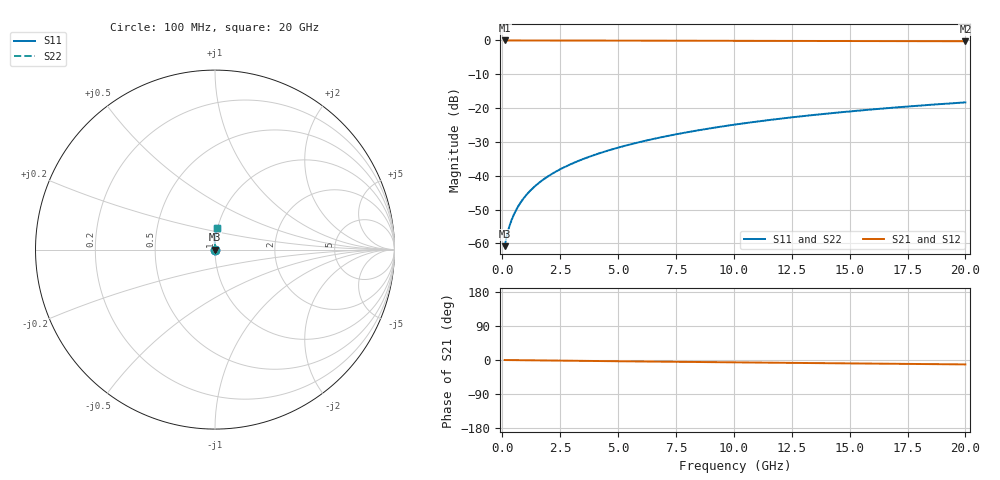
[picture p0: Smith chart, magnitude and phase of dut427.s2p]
! Touchstone file exported from HFSS 2024.1.0
!  File:  C:/UserFiles/LocalFiles/RDL_TSV_Batchsim/temp_RDL_top_427_1779676211.aedt
!  Generated:  10:32:28 AM May 25, 2026
!  Design:  RDL_top
!  Project:  temp_RDL_top_427_1779676211
!  Setup:  Setup1
!  Solution:  Sweep
! Variables:
!  dtsv = 10.80580581um
!  hbump = 3um
!  htsv = 98.19um
!  ldown = 100um
!  lrdl = 140.76um
!  p = 40
!  p1 = 50.8um
!  rhole = 1um
!  t = 450um
!  tdown = 3.915915916um
!  trdl = 3.76um
!  wdown = 15.38538539um
!  wrdl = 26.81um
# GHz S MA R 50.000000
! Terminal data exported
! Port[1] = Box2_T1
! Port[2] = Box2_T2
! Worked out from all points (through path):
!   200 points, 100 MHz to 20 GHz, reference 50 ohm
!   highest |S21| = -0.01 dB at 100 MHz (marker M1); lowest = -0.2 dB at 20 GHz (marker M2)
!   group delay of S21, straight-line fit = 1.6 ps
!   lowest |S11| = -60.8 dB at 100 MHz (marker M3), VSWR 1.00, Z = 50.1 + j0.0552 ohm
!   |S11| at or under -10 dB: start of sweep to end of sweep
!   |S22| runs from -60.8 to -18.3 dB; largest |S21 - S12| = 3.3e-15
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0.1  0.0009108 37.3  0.9993 -0.1  0.9993 -0.1  0.0009108 37.3
! Gamma 0 0 0 0
! Port Impedance 50 0 50 0
0.2  0.001319 54.5  0.9992 -0.1  0.9992 -0.1  0.001319 54.5
0.3  0.001763 63.0  0.9992 -0.2  0.9992 -0.2  0.001763 63.0
0.4  0.002214 68.2  0.9991 -0.3  0.9991 -0.3  0.002214 68.2
0.5  0.00267 71.8  0.9991 -0.3  0.9991 -0.3  0.00267 71.8
0.6  0.003131 74.5  0.999 -0.4  0.999 -0.4  0.003131 74.5
0.8  0.004067 78.3  0.9989 -0.6  0.9989 -0.6  0.004067 78.3
1.1  0.0055 81.9  0.9988 -0.8  0.9988 -0.8  0.0055 81.9
1.5  0.007447 84.8  0.9986 -1.0  0.9986 -1.0  0.007447 84.8
1.8  0.008931 86.2  0.9983 -1.2  0.9983 -1.2  0.008931 86.2
2.1  0.01043 87.4  0.9981 -1.4  0.9981 -1.4  0.01043 87.4
2.7  0.0135 89.1  0.9975 -1.8  0.9975 -1.8  0.0135 89.1
3.5  0.01772 90.5  0.9965 -2.3  0.9965 -2.3  0.01772 90.5
4.2  0.02153 91.4  0.9955 -2.8  0.9955 -2.8  0.02153 91.4
5  0.02604 92.0  0.9942 -3.3  0.9942 -3.3  0.02604 92.0
5.9  0.03128 92.4  0.9928 -3.8  0.9928 -3.8  0.03128 92.4
6.8  0.03668 92.5  0.9913 -4.4  0.9913 -4.4  0.03668 92.5
8.4  0.0466 92.2  0.9887 -5.3  0.9887 -5.3  0.0466 92.2
10.1  0.05743 91.4  0.986 -6.3  0.986 -6.3  0.05743 91.4
13.4  0.07885 89.3  0.9813 -8.1  0.9813 -8.1  0.07885 89.3
16.7  0.1003 86.9  0.9769 -9.9  0.9769 -9.9  0.1003 86.9
20  0.1216 84.5  0.9728 -11.6  0.9728 -11.6  0.1215 84.5
